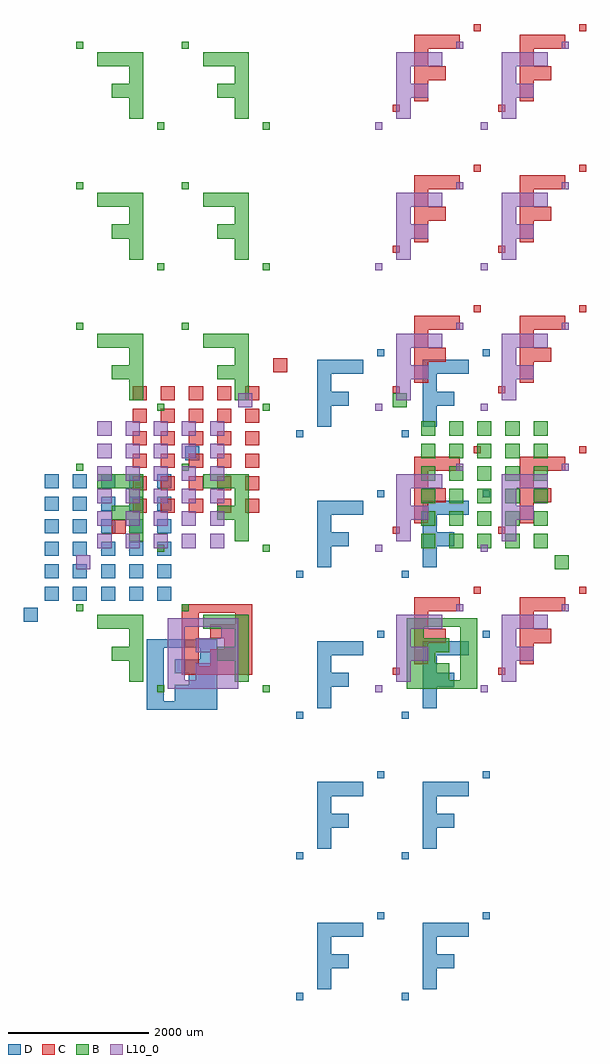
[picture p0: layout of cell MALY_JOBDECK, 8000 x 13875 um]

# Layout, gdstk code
from math import pi, radians
import gdstk
lib = gdstk.Library(unit=1e-6, precision=1e-09)
def R(c, l, rs):  # rectangles x0, y0, x1, y1
    for r in rs: c.add(gdstk.rectangle(r[:2], r[2:], *l))
def P(c, l, *ps):  # polygons
    for p in ps: c.add(gdstk.Polygon(p, *l))
L10_0 = (10, 0)
B = (11, 0)
C = (12, 0)
D = (13, 0)

x_10 = lib.new_cell('X$10')

d_top_1 = lib.new_cell('D.TOP$1')
R(d_top_1, D, [(-250,-250,-150,-150), (900,900,1000,1000)])
P(d_top_1, D, [(50,-100),(50,850),(700,850),(700,650),(250,650),(250,400),(500,400),(500,200),(250,200),(250,-100)])
r = gdstk.Reference(x_10, (-100,-100)); r.repetition = gdstk.Repetition(5, 6, v1=(200,0), v2=(0,160)); d_top_1.add(r)

x_11 = lib.new_cell('X$11')
R(x_11, D, [(0,0,100,100)])

d_top_2 = lib.new_cell('D.TOP$2')
R(d_top_2, D, [(-250,-250,-150,-150), (900,900,1000,1000)])
r = gdstk.Reference(x_11, (-100,-100)); r.repetition = gdstk.Repetition(5, 6, v1=(200,0), v2=(0,160)); d_top_2.add(r)

x_9 = lib.new_cell('X$9')

d_top = lib.new_cell('D.TOP')
P(d_top, D, [(-250,-250),(-250,850),(50,850),(50,-100),(250,-100),(250,200),(500,200),(500,400),(250,400),(250,650),(700,650),(700,850),(-250,850),(-250,1000),(1000,1000),(1000,-250)])
r = gdstk.Reference(x_9, (-100,-100)); r.repetition = gdstk.Repetition(5, 6, v1=(200,0), v2=(0,160)); d_top.add(r)

mask_d = lib.new_cell('MASK_D')
r = gdstk.Reference(d_top_1, (-125,-4375)); r.repetition = gdstk.Repetition(2, 5, v1=(1500,0), v2=(0,2000)); mask_d.add(r)
mask_d.add(gdstk.Reference(d_top_2, (-3750,1250), magnification=2))
mask_d.add(gdstk.Reference(d_top, (-2300,-300), magnification=0.8))

x_8 = lib.new_cell('X$8')
R(x_8, C, [(0,0,100,100)])

c_top_2 = lib.new_cell('C.TOP$2')
R(c_top_2, C, [(-250,-250,-150,-150), (900,900,1000,1000)])
r = gdstk.Reference(x_8, (-100,-100)); r.repetition = gdstk.Repetition(5, 6, v1=(200,0), v2=(0,160)); c_top_2.add(r)

x_7 = lib.new_cell('X$7')

c_top_1 = lib.new_cell('C.TOP$1')
R(c_top_1, C, [(-250,-250,-150,-150), (900,900,1000,1000)])
P(c_top_1, C, [(50,-100),(50,850),(700,850),(700,650),(250,650),(250,400),(500,400),(500,200),(250,200),(250,-100)])
r = gdstk.Reference(x_7, (-100,-100)); r.repetition = gdstk.Repetition(5, 6, v1=(200,0), v2=(0,160)); c_top_1.add(r)

x_6 = lib.new_cell('X$6')

c_top = lib.new_cell('C.TOP')
P(c_top, C, [(-250,-250),(-250,850),(50,850),(50,-100),(250,-100),(250,200),(500,200),(500,400),(250,400),(250,650),(700,650),(700,850),(-250,850),(-250,1000),(1000,1000),(1000,-250)])
r = gdstk.Reference(x_6, (-100,-100)); r.repetition = gdstk.Repetition(5, 6, v1=(200,0), v2=(0,160)); c_top.add(r)

mask_c = lib.new_cell('MASK_C')
mask_c.add(gdstk.Reference(c_top_2, (-2500,2500), magnification=2))
r = gdstk.Reference(c_top_1, (1250,250)); r.repetition = gdstk.Repetition(2, 5, v1=(1500,0), v2=(0,2000)); mask_c.add(r)
mask_c.add(gdstk.Reference(c_top, (-1800,200), magnification=0.8))

x_5 = lib.new_cell('X$5')
R(x_5, B, [(0,0,100,100)])

b_top_2 = lib.new_cell('B.TOP$2')
R(b_top_2, B, [(-250,-250,-150,-150), (900,900,1000,1000)])
r = gdstk.Reference(x_5, (-100,-100)); r.repetition = gdstk.Repetition(5, 6, v1=(200,0), v2=(0,160)); b_top_2.add(r)

x_4 = lib.new_cell('X$4')

b_top_1 = lib.new_cell('B.TOP$1')
R(b_top_1, B, [(-250,-250,-150,-150), (900,900,1000,1000)])
P(b_top_1, B, [(50,-100),(50,850),(700,850),(700,650),(250,650),(250,400),(500,400),(500,200),(250,200),(250,-100)])
r = gdstk.Reference(x_4, (-100,-100)); r.repetition = gdstk.Repetition(5, 6, v1=(200,0), v2=(0,160)); b_top_1.add(r)

x_3 = lib.new_cell('X$3')

b_top = lib.new_cell('B.TOP')
P(b_top, B, [(-250,-250),(-250,850),(50,850),(50,-100),(250,-100),(250,200),(500,200),(500,400),(250,400),(250,650),(700,650),(700,850),(-250,850),(-250,1000),(1000,1000),(1000,-250)])
r = gdstk.Reference(x_3, (-100,-100)); r.repetition = gdstk.Repetition(5, 6, v1=(200,0), v2=(0,160)); b_top.add(r)

mask_b = lib.new_cell('MASK_B')
mask_b.add(gdstk.Reference(b_top_2, (3000,2000), rotation=pi, magnification=2, x_reflection=True))
r = gdstk.Reference(b_top_1, (-1000,0), rotation=pi, x_reflection=True); r.repetition = gdstk.Repetition(2, 5, v1=(-1500,0), v2=(0,2000)); mask_b.add(r)
mask_b.add(gdstk.Reference(b_top, (2000,0), rotation=pi, magnification=0.8, x_reflection=True))

x_2 = lib.new_cell('X$2')
R(x_2, L10_0, [(0,0,100,100)])

a_top_2 = lib.new_cell('A.TOP$2')
R(a_top_2, L10_0, [(-250,-250,-150,-150), (900,900,1000,1000)])
r = gdstk.Reference(x_2, (-100,-100)); r.repetition = gdstk.Repetition(5, 6, v1=(200,0), v2=(0,160)); a_top_2.add(r)

x_1 = lib.new_cell('X$1')

a_top_1 = lib.new_cell('A.TOP$1')
R(a_top_1, L10_0, [(-250,-250,-150,-150), (900,900,1000,1000)])
P(a_top_1, L10_0, [(50,-100),(50,850),(700,850),(700,650),(250,650),(250,400),(500,400),(500,200),(250,200),(250,-100)])
r = gdstk.Reference(x_1, (-100,-100)); r.repetition = gdstk.Repetition(5, 6, v1=(200,0), v2=(0,160)); a_top_1.add(r)

c_x = lib.new_cell('X')

a_top = lib.new_cell('A.TOP')
P(a_top, L10_0, [(-250,-250),(-250,850),(50,850),(50,-100),(250,-100),(250,200),(500,200),(500,400),(250,400),(250,650),(700,650),(700,850),(-250,850),(-250,1000),(1000,1000),(1000,-250)])
r = gdstk.Reference(c_x, (-100,-100)); r.repetition = gdstk.Repetition(5, 6, v1=(200,0), v2=(0,160)); a_top.add(r)

mask_a = lib.new_cell('MASK_A')
mask_a.add(gdstk.Reference(a_top_2, (-3000,2000), magnification=2))
r = gdstk.Reference(a_top_1, (1000,0)); r.repetition = gdstk.Repetition(2, 5, v1=(1500,0), v2=(0,2000)); mask_a.add(r)
mask_a.add(gdstk.Reference(a_top, (-2000,0), magnification=0.8))

maly_jobdeck = lib.new_cell('MALY_JOBDECK')
maly_jobdeck.add(gdstk.Reference(mask_d, (0,0)))
maly_jobdeck.add(gdstk.Reference(mask_c, (0,0)))
maly_jobdeck.add(gdstk.Reference(mask_b, (0,0)))
maly_jobdeck.add(gdstk.Reference(mask_a, (0,0)))

lib.write_gds('MALY_JOBDECK.gds')
